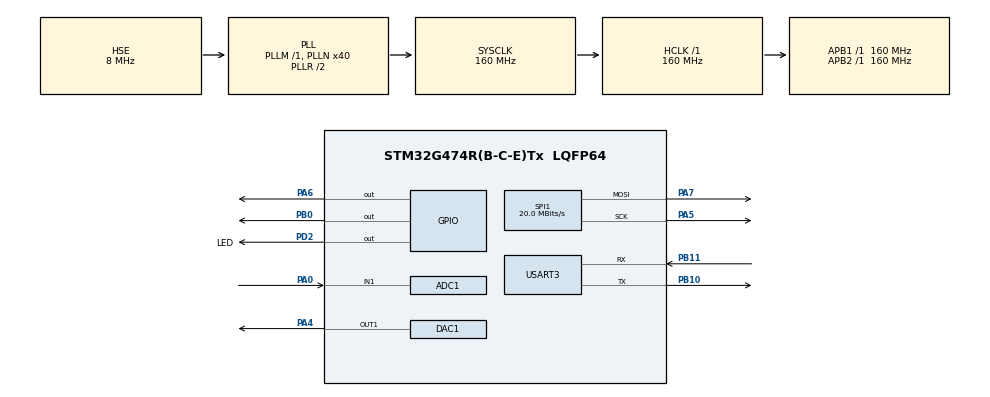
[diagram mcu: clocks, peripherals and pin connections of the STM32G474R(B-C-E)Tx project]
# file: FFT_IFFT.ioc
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ADC1.Channel-0\#ChannelRegularConversion=ADC_CHANNEL_1
ADC1.ContinuousConvMode=DISABLE
ADC1.DMAContinuousRequests=ENABLE
ADC1.ExternalTrigConv=ADC_EXTERNALTRIG_T3_TRGO
ADC1.NbrOfConversionFlag=1
ADC1.OffsetNumber-0\#ChannelRegularConversion=ADC_OFFSET_NONE
ADC1.Rank-0\#ChannelRegularConversion=1
ADC1.SamplingTime-0\#ChannelRegularConversion=ADC_SAMPLETIME_2CYCLES_5
ADC1.master=1
DAC1.DAC_Trigger_OUT1-DAC_OUT1=DAC_TRIGGER_T3_TRGO
Dma.ADC1.0.Direction=DMA_PERIPH_TO_MEMORY
Dma.ADC1.0.EventEnable=DISABLE
Dma.ADC1.0.Instance=DMA1_Channel1
Dma.ADC1.0.MemDataAlignment=DMA_MDATAALIGN_HALFWORD
Dma.ADC1.0.MemInc=DMA_MINC_ENABLE
Dma.ADC1.0.Mode=DMA_CIRCULAR
Dma.ADC1.0.PeriphDataAlignment=DMA_PDATAALIGN_HALFWORD
Dma.ADC1.0.PeriphInc=DMA_PINC_DISABLE
Dma.ADC1.0.Polarity=HAL_DMAMUX_REQ_GEN_RISING
Dma.ADC1.0.Priority=DMA_PRIORITY_LOW
Dma.ADC1.0.RequestNumber=1
Dma.ADC1.0.SignalID=NONE
Dma.ADC1.0.SyncEnable=DISABLE
Dma.ADC1.0.SyncPolarity=HAL_DMAMUX_SYNC_NO_EVENT
Dma.ADC1.0.SyncRequestNumber=1
Dma.ADC1.0.SyncSignalID=NONE
Dma.DAC1_CH1.1.Direction=DMA_MEMORY_TO_PERIPH
Dma.DAC1_CH1.1.EventEnable=DISABLE
Dma.DAC1_CH1.1.Instance=DMA1_Channel2
Dma.DAC1_CH1.1.MemDataAlignment=DMA_MDATAALIGN_HALFWORD
Dma.DAC1_CH1.1.MemInc=DMA_MINC_ENABLE
Dma.DAC1_CH1.1.Mode=DMA_CIRCULAR
Dma.DAC1_CH1.1.PeriphDataAlignment=DMA_PDATAALIGN_WORD
Dma.DAC1_CH1.1.PeriphInc=DMA_PINC_DISABLE
Dma.DAC1_CH1.1.Polarity=HAL_DMAMUX_REQ_GEN_RISING
Dma.DAC1_CH1.1.Priority=DMA_PRIORITY_LOW
Dma.DAC1_CH1.1.RequestNumber=1
Dma.DAC1_CH1.1.SignalID=NONE
Dma.DAC1_CH1.1.SyncEnable=DISABLE
Dma.DAC1_CH1.1.SyncPolarity=HAL_DMAMUX_SYNC_NO_EVENT
Dma.DAC1_CH1.1.SyncRequestNumber=1
Dma.DAC1_CH1.1.SyncSignalID=NONE
Dma.Request0=ADC1
Dma.Request1=DAC1_CH1
Mcu.Family=STM32G4
Mcu.Name=STM32G474R(B-C-E)Tx
Mcu.Package=LQFP64
NVIC.DMA1_Channel1_IRQn=true\:0\:0\:false\:false\:true\:false\:true\:true
NVIC.DMA1_Channel2_IRQn=true\:0\:0\:false\:false\:true\:false\:true\:true
NVIC.PriorityGroup=NVIC_PRIORITYGROUP_4
PA0.Mode=IN1-Single-Ended
PA0.Signal=ADC1_IN1
PA13.Mode=Serial_Wire
PA13.Signal=SYS_JTMS-SWDIO
PA14.Mode=Serial_Wire
PA14.Signal=SYS_JTCK-SWCLK
PA4.Signal=COMP_DAC11_group
PA5.Mode=TX_Only_Simplex_Unidirect_Master
PA5.Signal=SPI1_SCK
PA6.GPIO_Speed=GPIO_SPEED_FREQ_VERY_HIGH
PA6.Signal=GPIO_Output
PA7.Mode=TX_Only_Simplex_Unidirect_Master
PA7.Signal=SPI1_MOSI
PB0.GPIO_Speed=GPIO_SPEED_FREQ_VERY_HIGH
PB0.Signal=GPIO_Output
PB10.Mode=Asynchronous
PB10.Signal=USART3_TX
PB11.Mode=Asynchronous
PB11.Signal=USART3_RX
PD2.GPIO_Label=LED
PD2.Signal=GPIO_Output
PF0-OSC_IN.Mode=HSE-External-Oscillator
PF0-OSC_IN.Signal=RCC_OSC_IN
PF1-OSC_OUT.Mode=HSE-External-Oscillator
PF1-OSC_OUT.Signal=RCC_OSC_OUT
ProjectManager.HeapSize=0x200
ProjectManager.StackSize=0x400
ProjectManager.TargetToolchain=MDK-ARM V5.32
RCC.ADC12Freq_Value=160000000
RCC.ADC345Freq_Value=160000000
RCC.AHBFreq_Value=160000000
RCC.APB1Freq_Value=160000000
RCC.APB1TimFreq_Value=160000000
RCC.APB2Freq_Value=160000000
RCC.APB2TimFreq_Value=160000000
RCC.CortexFreq_Value=160000000
RCC.EXTERNAL_CLOCK_VALUE=12288000
RCC.HCLKFreq_Value=160000000
RCC.HSE_VALUE=8000000
RCC.HSI48_VALUE=48000000
RCC.HSI_VALUE=16000000
RCC.LSE_VALUE=32768
RCC.PLLN=40
RCC.PLLSourceVirtual=RCC_PLLSOURCE_HSE
RCC.SYSCLKFreq_VALUE=160000000
RCC.SYSCLKSource=RCC_SYSCLKSOURCE_PLLCLK
RCC.USBFreq_Value=160000000
RCC.VCOOutputFreq_Value=320000000
SH.COMP_DAC11_group.0=DAC1_OUT1,DAC_OUT1
SPI1.BaudRatePrescaler=SPI_BAUDRATEPRESCALER_8
SPI1.CalculateBaudRate=20.0 MBits/s
SPI1.DataSize=SPI_DATASIZE_8BIT
SPI1.Direction=SPI_DIRECTION_2LINES
SPI1.Mode=SPI_MODE_MASTER
SPI1.VirtualType=VM_MASTER
STMicroelectronics.X-CUBE-ALGOBUILD.1.4.0.LibraryCcDSPOoLibraryJjDSPOoLibrary=true
TIM3.AutoReloadPreload=TIM_AUTORELOAD_PRELOAD_ENABLE
TIM3.PeriodNoDither=9
TIM3.Prescaler=169
TIM3.TIM_MasterOutputTrigger=TIM_TRGO_UPDATE
USART3.VirtualMode-Asynchronous=VM_ASYNC
VP_STMicroelectronics.X-CUBE-ALGOBUILD_VS_DSPOoLibraryJjLibrary_1.4.0_1.4.0.Mode=DSPOoLibraryJjLibrary
VP_SYS_VS_DBSignals.Mode=DisableDeadBatterySignals
VP_TIM3_VS_ClockSourceINT.Mode=Internal
board=custom

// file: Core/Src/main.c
/* USER CODE BEGIN Header */
/**
  ******************************************************************************
  * @file           : main.c
  * @brief          : Main program body
  ******************************************************************************
  * @attention
  *
  * Copyright (c) 2026 STMicroelectronics.
  * All rights reserved.
  *
  * This software is licensed under terms that can be found in the LICENSE file
  * in the root directory of this software component.
  * If no LICENSE file comes with this software, it is provided AS-IS.
  *
  ******************************************************************************
  */
/* USER CODE END Header */
#include "main.h"
#include "adc.h"
#include "dac.h"
#include "dma.h"
#include "spi.h"
#include "tim.h"
#include "usart.h"
#include "gpio.h"

/* USER CODE BEGIN Includes */
#include "arm_math.h"
#include "math.h"
#include "FFT_IFFT.h"
/* USER CODE END Includes */

/* USER CODE BEGIN PD */
#ifdef __GNUC__
#define PUTCHAR_PROTOTYPE int __io_putchar(int ch)
#else
#define PUTCHAR_PROTOTYPE int fputc(int ch, FILE *f)
#endif
PUTCHAR_PROTOTYPE{
  HAL_UART_Transmit(&huart3, (uint8_t *)&ch, 1, HAL_MAX_DELAY);
  return ch;
  }
/* USER CODE END PD */

void SystemClock_Config(void);

int main(void)
{

  /* MCU Configuration--------------------------------------------------------*/

  /* Reset of all peripherals, Initializes the Flash interface and the Systick. */
  HAL_Init();

  /* Configure the system clock */
  SystemClock_Config();

  /* Initialize all configured peripherals */
  MX_GPIO_Init();
  MX_DMA_Init();
  MX_ADC1_Init();
  MX_SPI1_Init();
  MX_TIM3_Init();
  MX_USART3_UART_Init();
  MX_DAC1_Init();
  /* USER CODE BEGIN 2 */
  FFT_IFFT_Iint(&ADC1_CH1_FFT_IFFT);
  arm_rfft_fast_init_f32(&S, 1024);
  __HAL_TIM_SET_PRESCALER(&htim3,8);
  __HAL_TIM_SET_AUTORELOAD(&htim3,12);
  HAL_TIM_Base_Start(&htim3); // 先启动定时器，让其开始产生TRGO信号，ADDA的共同触发信号
  HAL_Delay(10);//等待采样稳定
  HAL_ADC_Start_DMA(&hadc1, (uint32_t*)ADC1_CH1_FFT_IFFT.FFT_IFFT_adc_data, FFT_IFFT_SIZE*2); // 再启动ADC和DMA
  HAL_DAC_Start_DMA(&hdac1, DAC_CHANNEL_1,(uint32_t*)ADC1_CH1_FFT_IFFT.FFT_IFFT_dac_data,FFT_IFFT_SIZE*2, DAC_ALIGN_12B_R);
  HAL_Delay(1000);//等待采样稳定

  /* USER CODE END 2 */

  /* Infinite loop */
  while (1)
  {

  }
}

void SystemClock_Config(void)
{
  RCC_OscInitTypeDef RCC_OscInitStruct = {0};
  RCC_ClkInitTypeDef RCC_ClkInitStruct = {0};

  /** Configure the main internal regulator output voltage
  */
  HAL_PWREx_ControlVoltageScaling(PWR_REGULATOR_VOLTAGE_SCALE1_BOOST);

  /** Initializes the RCC Oscillators according to the specified parameters
  * in the RCC_OscInitTypeDef structure.
  */
  RCC_OscInitStruct.OscillatorType = RCC_OSCILLATORTYPE_HSE;
  RCC_OscInitStruct.HSEState = RCC_HSE_ON;
  RCC_OscInitStruct.PLL.PLLState = RCC_PLL_ON;
  RCC_OscInitStruct.PLL.PLLSource = RCC_PLLSOURCE_HSE;
  RCC_OscInitStruct.PLL.PLLM = RCC_PLLM_DIV1;
  RCC_OscInitStruct.PLL.PLLN = 40;
  RCC_OscInitStruct.PLL.PLLP = RCC_PLLP_DIV2;
  RCC_OscInitStruct.PLL.PLLQ = RCC_PLLQ_DIV2;
  RCC_OscInitStruct.PLL.PLLR = RCC_PLLR_DIV2;
  if (HAL_RCC_OscConfig(&RCC_OscInitStruct) != HAL_OK)
  {
    Error_Handler();
  }

  /** Initializes the CPU, AHB and APB buses clocks
  */
  RCC_ClkInitStruct.ClockType = RCC_CLOCKTYPE_HCLK|RCC_CLOCKTYPE_SYSCLK
                              |RCC_CLOCKTYPE_PCLK1|RCC_CLOCKTYPE_PCLK2;
  RCC_ClkInitStruct.SYSCLKSource = RCC_SYSCLKSOURCE_PLLCLK;
  RCC_ClkInitStruct.AHBCLKDivider = RCC_SYSCLK_DIV1;
  RCC_ClkInitStruct.APB1CLKDivider = RCC_HCLK_DIV1;
  RCC_ClkInitStruct.APB2CLKDivider = RCC_HCLK_DIV1;

  if (HAL_RCC_ClockConfig(&RCC_ClkInitStruct, FLASH_LATENCY_4) != HAL_OK)
  {
    Error_Handler();
  }
}

void Error_Handler(void)
{
  __disable_irq();
  while (1)
  {
  }
}
